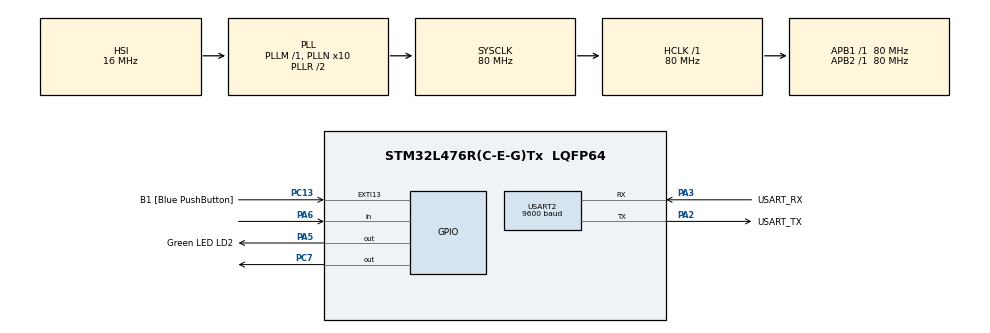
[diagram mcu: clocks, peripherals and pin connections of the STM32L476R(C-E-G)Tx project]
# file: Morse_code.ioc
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Dma.Request0=USART2_RX
Dma.Request1=USART2_TX
Dma.USART2_RX.0.Direction=DMA_PERIPH_TO_MEMORY
Dma.USART2_RX.0.Instance=DMA1_Channel6
Dma.USART2_RX.0.MemDataAlignment=DMA_MDATAALIGN_BYTE
Dma.USART2_RX.0.MemInc=DMA_MINC_ENABLE
Dma.USART2_RX.0.Mode=DMA_NORMAL
Dma.USART2_RX.0.PeriphDataAlignment=DMA_PDATAALIGN_BYTE
Dma.USART2_RX.0.PeriphInc=DMA_PINC_DISABLE
Dma.USART2_RX.0.Priority=DMA_PRIORITY_LOW
Dma.USART2_TX.1.Direction=DMA_MEMORY_TO_PERIPH
Dma.USART2_TX.1.Instance=DMA1_Channel7
Dma.USART2_TX.1.MemDataAlignment=DMA_MDATAALIGN_BYTE
Dma.USART2_TX.1.MemInc=DMA_MINC_ENABLE
Dma.USART2_TX.1.Mode=DMA_NORMAL
Dma.USART2_TX.1.PeriphDataAlignment=DMA_PDATAALIGN_BYTE
Dma.USART2_TX.1.PeriphInc=DMA_PINC_DISABLE
Dma.USART2_TX.1.Priority=DMA_PRIORITY_LOW
Mcu.Family=STM32L4
Mcu.Name=STM32L476R(C-E-G)Tx
Mcu.Package=LQFP64
NVIC.DMA1_Channel6_IRQn=true\:0\:0\:false\:false\:true\:false\:true
NVIC.DMA1_Channel7_IRQn=true\:0\:0\:false\:false\:true\:false\:true
NVIC.EXTI15_10_IRQn=true\:0\:0\:false\:false\:true\:true\:true
NVIC.PriorityGroup=NVIC_PRIORITYGROUP_4
NVIC.RCC_IRQn=true\:0\:0\:false\:false\:true\:true\:false
NVIC.USART2_IRQn=true\:0\:0\:false\:false\:true\:true\:true
PA13\ (JTMS-SWDIO).GPIO_Label=TMS
PA13\ (JTMS-SWDIO).Mode=Serial_Wire
PA13\ (JTMS-SWDIO).Signal=SYS_JTMS-SWDIO
PA14\ (JTCK-SWCLK).GPIO_Label=TCK
PA14\ (JTCK-SWCLK).Mode=Serial_Wire
PA14\ (JTCK-SWCLK).Signal=SYS_JTCK-SWCLK
PA2.GPIO_Label=USART_TX
PA2.GPIO_Mode=GPIO_MODE_AF_PP
PA2.GPIO_PuPd=GPIO_NOPULL
PA2.GPIO_Speed=GPIO_SPEED_FREQ_VERY_HIGH
PA2.Mode=Asynchronous
PA2.Signal=USART2_TX
PA3.GPIO_Label=USART_RX
PA3.GPIO_Mode=GPIO_MODE_AF_PP
PA3.GPIO_PuPd=GPIO_NOPULL
PA3.GPIO_Speed=GPIO_SPEED_FREQ_VERY_HIGH
PA3.Mode=Asynchronous
PA3.Signal=USART2_RX
PA5.GPIO_Label=Green LED LD2
PA5.GPIO_ModeDefaultOutputPP=GPIO_MODE_OUTPUT_PP
PA5.GPIO_PuPd=GPIO_NOPULL
PA5.GPIO_Speed=GPIO_SPEED_FREQ_LOW
PA5.Signal=GPIO_Output
PA6.Signal=GPIO_Input
PB3\ (JTDO-TRACESWO).GPIO_Label=SWO
PB3\ (JTDO-TRACESWO).Signal=SYS_JTDO-SWO
PC13.GPIO_Label=B1 [Blue PushButton]
PC13.GPIO_ModeDefaultEXTI=GPIO_MODE_IT_FALLING
PC13.GPIO_PuPd=GPIO_NOPULL
PC13.Signal=GPXTI13
PC14-OSC32_IN\ (PC14).Signal=RCC_OSC32_IN
PC15-OSC32_OUT\ (PC15).Signal=RCC_OSC32_OUT
PC7.Signal=GPIO_Output
PH0-OSC_IN\ (PH0).Mode=HSE-External-Oscillator
PH0-OSC_IN\ (PH0).Signal=RCC_OSC_IN
PH1-OSC_OUT\ (PH1).Mode=HSE-External-Oscillator
PH1-OSC_OUT\ (PH1).Signal=RCC_OSC_OUT
ProjectManager.HeapSize=0x200
ProjectManager.StackSize=0x400
ProjectManager.TargetToolchain=MDK-ARM V5
RCC.ADCFreq_Value=64000000
RCC.AHBFreq_Value=80000000
RCC.APB1Freq_Value=80000000
RCC.APB1TimFreq_Value=80000000
RCC.APB2Freq_Value=80000000
RCC.APB2TimFreq_Value=80000000
RCC.CortexFreq_Value=80000000
RCC.HCLKFreq_Value=80000000
RCC.HSE_VALUE=8000000
RCC.HSI_VALUE=16000000
RCC.LSE_VALUE=32768
RCC.MSI_VALUE=4000000
RCC.PLLN=10
RCC.PLLSourceVirtual=RCC_PLLSOURCE_HSI
RCC.PREFETCH_ENABLE=1
RCC.SYSCLKFreq_VALUE=80000000
RCC.SYSCLKSource=RCC_SYSCLKSOURCE_PLLCLK
RCC.USBFreq_Value=64000000
RCC.VCOOutputFreq_Value=160000000
USART2.BaudRate=9600
USART2.VirtualMode-Asynchronous=VM_ASYNC
board=NUCLEO-L476RG

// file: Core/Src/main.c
/* USER CODE BEGIN Header */
/**
  ******************************************************************************
  * @file           : main.c
  * @brief          : Main program body
  ******************************************************************************
  * @attention
  *
  * <h2><center>&copy; Copyright (c) 2020 STMicroelectronics.
  * All rights reserved.</center></h2>
  *
  * This software component is licensed by ST under BSD 3-Clause license,
  * the "License"; You may not use this file except in compliance with the
  * License. You may obtain a copy of the License at:
  *                        opensource.org/licenses/BSD-3-Clause
  *
  ******************************************************************************
  */
/* USER CODE END Header */
#include "main.h"

/* USER CODE BEGIN Includes */
#include "string.h"
/* USER CODE END Includes */

UART_HandleTypeDef huart2;
DMA_HandleTypeDef hdma_usart2_rx;
DMA_HandleTypeDef hdma_usart2_tx;

/* USER CODE BEGIN PV */
const uint16_t LONG_SIGN = 500;
const uint16_t SHORT_SIGN = 200;
const uint16_t DELAY = 100;

const uint8_t buff_size = 100;
uint8_t encode_flag = 1;				// Initialize in encode mode
uint8_t overflow[buff_size] = "Overflow has occurred\n\n\r";
uint8_t bufferRx[buff_size];		// Reads one byte at a time from UART input
int rx_index = 0;
volatile uint8_t rx_flag = 0;
volatile uint8_t rx_char;
uint8_t flash_flag = 0;
uint8_t buff[6] = "\n\n\r>>>";
/* USER CODE END PV */

void SystemClock_Config(void);
static void MX_GPIO_Init(void);
static void MX_DMA_Init(void);
static void MX_USART2_UART_Init(void);
/* USER CODE BEGIN PFP */
void toggle_LED(void);
void encode(uint8_t* msg);

void signal(uint16_t waitTime);
/* USER CODE END PFP */

int main(void)
{

  /* MCU Configuration--------------------------------------------------------*/

  /* Reset of all peripherals, Initializes the Flash interface and the Systick. */
  HAL_Init();

  /* Configure the system clock */
  SystemClock_Config();

  /* Initialize all configured peripherals */
  MX_GPIO_Init();
  MX_DMA_Init();
  MX_USART2_UART_Init();
  /* USER CODE BEGIN 2 */
	HAL_UART_Transmit(&huart2, buff, 6, 100);
  /* USER CODE END 2 */

  /* Infinite loop */
  /* USER CODE BEGIN WHILE */
  while (1)
  {
		HAL_UART_Receive_IT(&huart2, bufferRx, buff_size);

		while (rx_flag == 0) {
			// do nothing
		}

		if (rx_flag == 1) {
			rx_flag = 0;
			if (rx_char == '\n' || rx_char == '\r') {
				// From the previous message, set all the unused spaces to 0 after the last-updated element
				memset(bufferRx+rx_index, 0, buff_size-rx_index);
				if (encode_flag == 1) {
					encode(bufferRx);
					rx_index = 0;
					//memset(bufferRx, 0, buff_size);
				} else {
					toggle_LED();
				}
				HAL_UART_Transmit(&huart2, buff, 6, 100);
			} else {
				if (rx_index >= buff_size) {
					HAL_UART_Transmit(&huart2, overflow, buff_size, 100);
					memset(bufferRx, 0, buff_size);
					rx_index = 0;
					HAL_UART_Transmit(&huart2, buff, 6, 100);
				} else {
					bufferRx[rx_index++] = rx_char;
				}
			}
		}
    /* USER CODE END WHILE */

  }
}

void SystemClock_Config(void)
{
  RCC_OscInitTypeDef RCC_OscInitStruct = {0};
  RCC_ClkInitTypeDef RCC_ClkInitStruct = {0};
  RCC_PeriphCLKInitTypeDef PeriphClkInit = {0};

  /** Initializes the RCC Oscillators according to the specified parameters
  * in the RCC_OscInitTypeDef structure.
  */
  RCC_OscInitStruct.OscillatorType = RCC_OSCILLATORTYPE_HSI;
  RCC_OscInitStruct.HSIState = RCC_HSI_ON;
  RCC_OscInitStruct.HSICalibrationValue = RCC_HSICALIBRATION_DEFAULT;
  RCC_OscInitStruct.PLL.PLLState = RCC_PLL_ON;
  RCC_OscInitStruct.PLL.PLLSource = RCC_PLLSOURCE_HSI;
  RCC_OscInitStruct.PLL.PLLM = 1;
  RCC_OscInitStruct.PLL.PLLN = 10;
  RCC_OscInitStruct.PLL.PLLP = RCC_PLLP_DIV7;
  RCC_OscInitStruct.PLL.PLLQ = RCC_PLLQ_DIV2;
  RCC_OscInitStruct.PLL.PLLR = RCC_PLLR_DIV2;
  if (HAL_RCC_OscConfig(&RCC_OscInitStruct) != HAL_OK)
  {
    Error_Handler();
  }
  /** Initializes the CPU, AHB and APB buses clocks
  */
  RCC_ClkInitStruct.ClockType = RCC_CLOCKTYPE_HCLK|RCC_CLOCKTYPE_SYSCLK
                              |RCC_CLOCKTYPE_PCLK1|RCC_CLOCKTYPE_PCLK2;
  RCC_ClkInitStruct.SYSCLKSource = RCC_SYSCLKSOURCE_PLLCLK;
  RCC_ClkInitStruct.AHBCLKDivider = RCC_SYSCLK_DIV1;
  RCC_ClkInitStruct.APB1CLKDivider = RCC_HCLK_DIV1;
  RCC_ClkInitStruct.APB2CLKDivider = RCC_HCLK_DIV1;

  if (HAL_RCC_ClockConfig(&RCC_ClkInitStruct, FLASH_LATENCY_4) != HAL_OK)
  {
    Error_Handler();
  }
  PeriphClkInit.PeriphClockSelection = RCC_PERIPHCLK_USART2;
  PeriphClkInit.Usart2ClockSelection = RCC_USART2CLKSOURCE_PCLK1;
  if (HAL_RCCEx_PeriphCLKConfig(&PeriphClkInit) != HAL_OK)
  {
    Error_Handler();
  }
  /** Configure the main internal regulator output voltage
  */
  if (HAL_PWREx_ControlVoltageScaling(PWR_REGULATOR_VOLTAGE_SCALE1) != HAL_OK)
  {
    Error_Handler();
  }
}

static void MX_USART2_UART_Init(void)
{

  huart2.Instance = USART2;
  huart2.Init.BaudRate = 9600;
  huart2.Init.WordLength = UART_WORDLENGTH_8B;
  huart2.Init.StopBits = UART_STOPBITS_1;
  huart2.Init.Parity = UART_PARITY_NONE;
  huart2.Init.Mode = UART_MODE_TX_RX;
  huart2.Init.HwFlowCtl = UART_HWCONTROL_NONE;
  huart2.Init.OverSampling = UART_OVERSAMPLING_16;
  huart2.Init.OneBitSampling = UART_ONE_BIT_SAMPLE_DISABLE;
  huart2.AdvancedInit.AdvFeatureInit = UART_ADVFEATURE_NO_INIT;
  if (HAL_UART_Init(&huart2) != HAL_OK)
  {
    Error_Handler();
  }

}

static void MX_DMA_Init(void)
{

  /* DMA controller clock enable */
  __HAL_RCC_DMA1_CLK_ENABLE();

  /* DMA interrupt init */
  /* DMA1_Channel6_IRQn interrupt configuration */
  HAL_NVIC_SetPriority(DMA1_Channel6_IRQn, 0, 0);
  HAL_NVIC_EnableIRQ(DMA1_Channel6_IRQn);
  /* DMA1_Channel7_IRQn interrupt configuration */
  HAL_NVIC_SetPriority(DMA1_Channel7_IRQn, 0, 0);
  HAL_NVIC_EnableIRQ(DMA1_Channel7_IRQn);

}

static void MX_GPIO_Init(void)
{
  GPIO_InitTypeDef GPIO_InitStruct = {0};

  /* GPIO Ports Clock Enable */
  __HAL_RCC_GPIOC_CLK_ENABLE();
  __HAL_RCC_GPIOH_CLK_ENABLE();
  __HAL_RCC_GPIOA_CLK_ENABLE();
  __HAL_RCC_GPIOB_CLK_ENABLE();

  /*Configure GPIO pin Output Level */
  HAL_GPIO_WritePin(Green_LED_LD2_GPIO_Port, Green_LED_LD2_Pin, GPIO_PIN_RESET);

  /*Configure GPIO pin Output Level */
  HAL_GPIO_WritePin(GPIOC, GPIO_PIN_7, GPIO_PIN_RESET);

  /*Configure GPIO pin : B1_Pin */
  GPIO_InitStruct.Pin = B1_Pin;
  GPIO_InitStruct.Mode = GPIO_MODE_IT_FALLING;
  GPIO_InitStruct.Pull = GPIO_NOPULL;
  HAL_GPIO_Init(B1_GPIO_Port, &GPIO_InitStruct);

  /*Configure GPIO pin : Green_LED_LD2_Pin */
  GPIO_InitStruct.Pin = Green_LED_LD2_Pin;
  GPIO_InitStruct.Mode = GPIO_MODE_OUTPUT_PP;
  GPIO_InitStruct.Pull = GPIO_NOPULL;
  GPIO_InitStruct.Speed = GPIO_SPEED_FREQ_LOW;
  HAL_GPIO_Init(Green_LED_LD2_GPIO_Port, &GPIO_InitStruct);

  /*Configure GPIO pin : PA6 */
  GPIO_InitStruct.Pin = GPIO_PIN_6;
  GPIO_InitStruct.Mode = GPIO_MODE_INPUT;
  GPIO_InitStruct.Pull = GPIO_NOPULL;
  HAL_GPIO_Init(GPIOA, &GPIO_InitStruct);

  /*Configure GPIO pin : PC7 */
  GPIO_InitStruct.Pin = GPIO_PIN_7;
  GPIO_InitStruct.Mode = GPIO_MODE_OUTPUT_PP;
  GPIO_InitStruct.Pull = GPIO_NOPULL;
  GPIO_InitStruct.Speed = GPIO_SPEED_FREQ_LOW;
  HAL_GPIO_Init(GPIOC, &GPIO_InitStruct);

  /* EXTI interrupt init*/
  HAL_NVIC_SetPriority(EXTI15_10_IRQn, 0, 0);
  HAL_NVIC_EnableIRQ(EXTI15_10_IRQn);

}

/* USER CODE BEGIN 4 */
// User button interrupt callback routine
void HAL_GPIO_EXTI_Callback(uint16_t GPIO_Pin)
{
  if (GPIO_Pin == B1_Pin) {
		encode_flag = encode_flag ^ 1;
		HAL_GPIO_WritePin(GPIOC, GPIO_PIN_7, encode_flag^1);
	}
	else
		__nop();
}

// Toggle LED routine
void toggle_LED(void) {
	HAL_UART_Transmit(&huart2, bufferRx, buff_size, 100);
	if (strcmp(bufferRx, "on") == 0)
		HAL_GPIO_WritePin(GPIOA, Green_LED_LD2_Pin, 1);
	if (strcmp(bufferRx, "off") == 0)
		HAL_GPIO_WritePin(GPIOA, Green_LED_LD2_Pin, 0);
	memset(bufferRx, 0, buff_size);
	rx_index = 0;
}

// Function call for a signal - pass the long and short wait times as parameters and do a delay after finished signal
void signal(uint16_t waitTIme) {
	HAL_GPIO_WritePin(GPIOA, Green_LED_LD2_Pin, 0);
	HAL_GPIO_WritePin(GPIOA, Green_LED_LD2_Pin, 1);
	HAL_Delay(waitTIme);
	HAL_GPIO_WritePin(GPIOA, Green_LED_LD2_Pin, 0);
	HAL_Delay(DELAY);
}

// Takes a pointer to msg buffer and will blink the message on green LED in morse code
void encode(uint8_t *msg) {
	char toCode;
	HAL_GPIO_WritePin(GPIOC, GPIO_PIN_7, 0);
	HAL_UART_Transmit(&huart2, bufferRx, buff_size, 100);
	for (int i = 0; i < rx_index; i++) {
		toCode = (char) *(msg+i);

		switch(toCode) {
			case 'A':
			case 'a':
				signal(SHORT_SIGN);
				signal(LONG_SIGN);
				break;

			case 'B':
			case 'b':
				signal(LONG_SIGN);
				signal(SHORT_SIGN);
				signal(SHORT_SIGN);
				signal(SHORT_SIGN);
				break;

			case 'C':
			case 'c':
				signal(LONG_SIGN);
				signal(SHORT_SIGN);
				signal(LONG_SIGN);
				signal(SHORT_SIGN);
				break;

			case 'D':
			case 'd':
				signal(LONG_SIGN);
				signal(SHORT_SIGN);
				signal(SHORT_SIGN);
				break;

			case 'E':
			case 'e':
				signal(SHORT_SIGN);
				break;

			case 'F':
			case 'f':
				signal(SHORT_SIGN);
				signal(SHORT_SIGN);
				signal(LONG_SIGN);
				signal(SHORT_SIGN);
				break;

			case 'G':
			case 'g':
				signal(LONG_SIGN);
				signal(LONG_SIGN);
				signal(SHORT_SIGN);
				break;

			case 'H':
			case 'h':
				signal(SHORT_SIGN);
				signal(SHORT_SIGN);
				signal(SHORT_SIGN);
				signal(SHORT_SIGN);
				break;

			case 'I':
			case 'i':
				signal(SHORT_SIGN);
				signal(SHORT_SIGN);
				break;

			case 'J':
			case 'j':
				signal(SHORT_SIGN);
				signal(LONG_SIGN);
				signal(LONG_SIGN);
				signal(LONG_SIGN);
				break;

			case 'K':
			case 'k':
				signal(LONG_SIGN);
				signal(SHORT_SIGN);
				signal(LONG_SIGN);
				break;

			case 'L':
			case 'l':
				signal(SHORT_SIGN);
				signal(LONG_SIGN);
				signal(SHORT_SIGN);
				signal(SHORT_SIGN);
				break;

			case 'M':
			case 'm':
				signal(LONG_SIGN);
				signal(LONG_SIGN);
				break;

			case 'N':
			case 'n':
				signal(LONG_SIGN);
				signal(SHORT_SIGN);
				break;

			case 'O':
			case 'o':
				signal(LONG_SIGN);
				signal(LONG_SIGN);
				signal(LONG_SIGN);
				break;

			case 'P':
			case 'p':
				signal(SHORT_SIGN);
				signal(LONG_SIGN);
				signal(LONG_SIGN);
				signal(SHORT_SIGN);
				break;

			case 'Q':
			case 'q':
				signal(LONG_SIGN);
				signal(LONG_SIGN);
				signal(SHORT_SIGN);
				signal(LONG_SIGN);
				break;

			case 'R':
			case 'r':
				signal(SHORT_SIGN);
				signal(LONG_SIGN);
				signal(SHORT_SIGN);
				break;

			case 'S':
			case 's':
				signal(SHORT_SIGN);
				signal(SHORT_SIGN);
				signal(SHORT_SIGN);
				break;

			case 'T':
			case 't':
				signal(LONG_SIGN);
				break;

			case 'U':
			case 'u':
				signal(SHORT_SIGN);
				signal(SHORT_SIGN);
				signal(LONG_SIGN);
				break;

			case 'V':
			case 'v':
				signal(SHORT_SIGN);
				signal(SHORT_SIGN);
				signal(SHORT_SIGN);
				signal(LONG_SIGN);
				break;

			case 'W':
			case 'w':
				signal(SHORT_SIGN);
				signal(LONG_SIGN);
				signal(LONG_SIGN);
				break;

			case 'X':
			case 'x':
				signal(LONG_SIGN);
				signal(SHORT_SIGN);
				signal(SHORT_SIGN);
				signal(LONG_SIGN);
				break;

			case 'Y':
			case 'y':
				signal(LONG_SIGN);
				signal(SHORT_SIGN);
				signal(LONG_SIGN);
				signal(LONG_SIGN);
				break;

			case 'Z':
			case 'z':
				signal(LONG_SIGN);
				signal(LONG_SIGN);
				signal(SHORT_SIGN);
				signal(SHORT_SIGN);
				break;

			case '0':
				signal(LONG_SIGN);
				signal(LONG_SIGN);
				signal(LONG_SIGN);
				signal(LONG_SIGN);
				signal(LONG_SIGN);
				break;

			case '1':
				signal(SHORT_SIGN);
				signal(LONG_SIGN);
				signal(LONG_SIGN);
				signal(LONG_SIGN);
				signal(LONG_SIGN);
				break;

			case '2':
				signal(SHORT_SIGN);
				signal(SHORT_SIGN);
				signal(LONG_SIGN);
				signal(LONG_SIGN);
				signal(LONG_SIGN);
				break;

			case '3':
				signal(SHORT_SIGN);
				signal(SHORT_SIGN);
				signal(SHORT_SIGN);
				signal(LONG_SIGN);
				signal(LONG_SIGN);
				break;

			case '4':
				signal(SHORT_SIGN);
				signal(SHORT_SIGN);
				signal(SHORT_SIGN);
				signal(SHORT_SIGN);
				signal(LONG_SIGN);
				break;

			case '5':
				signal(SHORT_SIGN);
				signal(SHORT_SIGN);
				signal(SHORT_SIGN);
				signal(SHORT_SIGN);
				signal(SHORT_SIGN);
				break;

			case '6':
				signal(LONG_SIGN);
				signal(SHORT_SIGN);
				signal(SHORT_SIGN);
				signal(SHORT_SIGN);
				signal(SHORT_SIGN);
				break;

			case '7':
				signal(LONG_SIGN);
				signal(LONG_SIGN);
				signal(SHORT_SIGN);
				signal(SHORT_SIGN);
				signal(SHORT_SIGN);
				break;

			case '8':
				signal(LONG_SIGN);
				signal(LONG_SIGN);
				signal(LONG_SIGN);
				signal(SHORT_SIGN);
				signal(SHORT_SIGN);
				break;

			case '9':
				signal(LONG_SIGN);
				signal(LONG_SIGN);
				signal(LONG_SIGN);
				signal(LONG_SIGN);
				signal(SHORT_SIGN);
				break;

			case '.':
				signal(SHORT_SIGN);
				signal(SHORT_SIGN);
				signal(SHORT_SIGN);
				signal(SHORT_SIGN);
				signal(SHORT_SIGN);
				break;

			case ',':
				signal(SHORT_SIGN);
				signal(LONG_SIGN);
				signal(SHORT_SIGN);
				signal(LONG_SIGN);
				signal(SHORT_SIGN);
				signal(LONG_SIGN);
				break;

			case ';':
				signal(LONG_SIGN);
				signal(SHORT_SIGN);
				signal(LONG_SIGN);
				signal(SHORT_SIGN);
				signal(LONG_SIGN);
				signal(SHORT_SIGN);
				break;

			case ':':
				signal(LONG_SIGN);
				signal(LONG_SIGN);
				signal(LONG_SIGN);
				signal(SHORT_SIGN);
				signal(SHORT_SIGN);
				signal(SHORT_SIGN);
				break;

			case '?':
				signal(SHORT_SIGN);
				signal(SHORT_SIGN);
				signal(LONG_SIGN);
				signal(LONG_SIGN);
				signal(SHORT_SIGN);
				signal(SHORT_SIGN);
				break;

			case '!':
				signal(LONG_SIGN);
				signal(LONG_SIGN);
				signal(SHORT_SIGN);
				signal(SHORT_SIGN);
				signal(LONG_SIGN);
				signal(LONG_SIGN);
				break;

			default:
				HAL_GPIO_WritePin(GPIOA, Green_LED_LD2_Pin, 0);
				HAL_Delay(1000);
		}
	}
	HAL_GPIO_WritePin(GPIOC, GPIO_PIN_7, 1);
	HAL_Delay(1000);
	HAL_GPIO_WritePin(GPIOC, GPIO_PIN_7, 0);
}

/* USER CODE END 4 */

void Error_Handler(void)
{
  __disable_irq();
  while (1)
  {
  }
}

/************************ (C) COPYRIGHT STMicroelectronics *****END OF FILE****/
